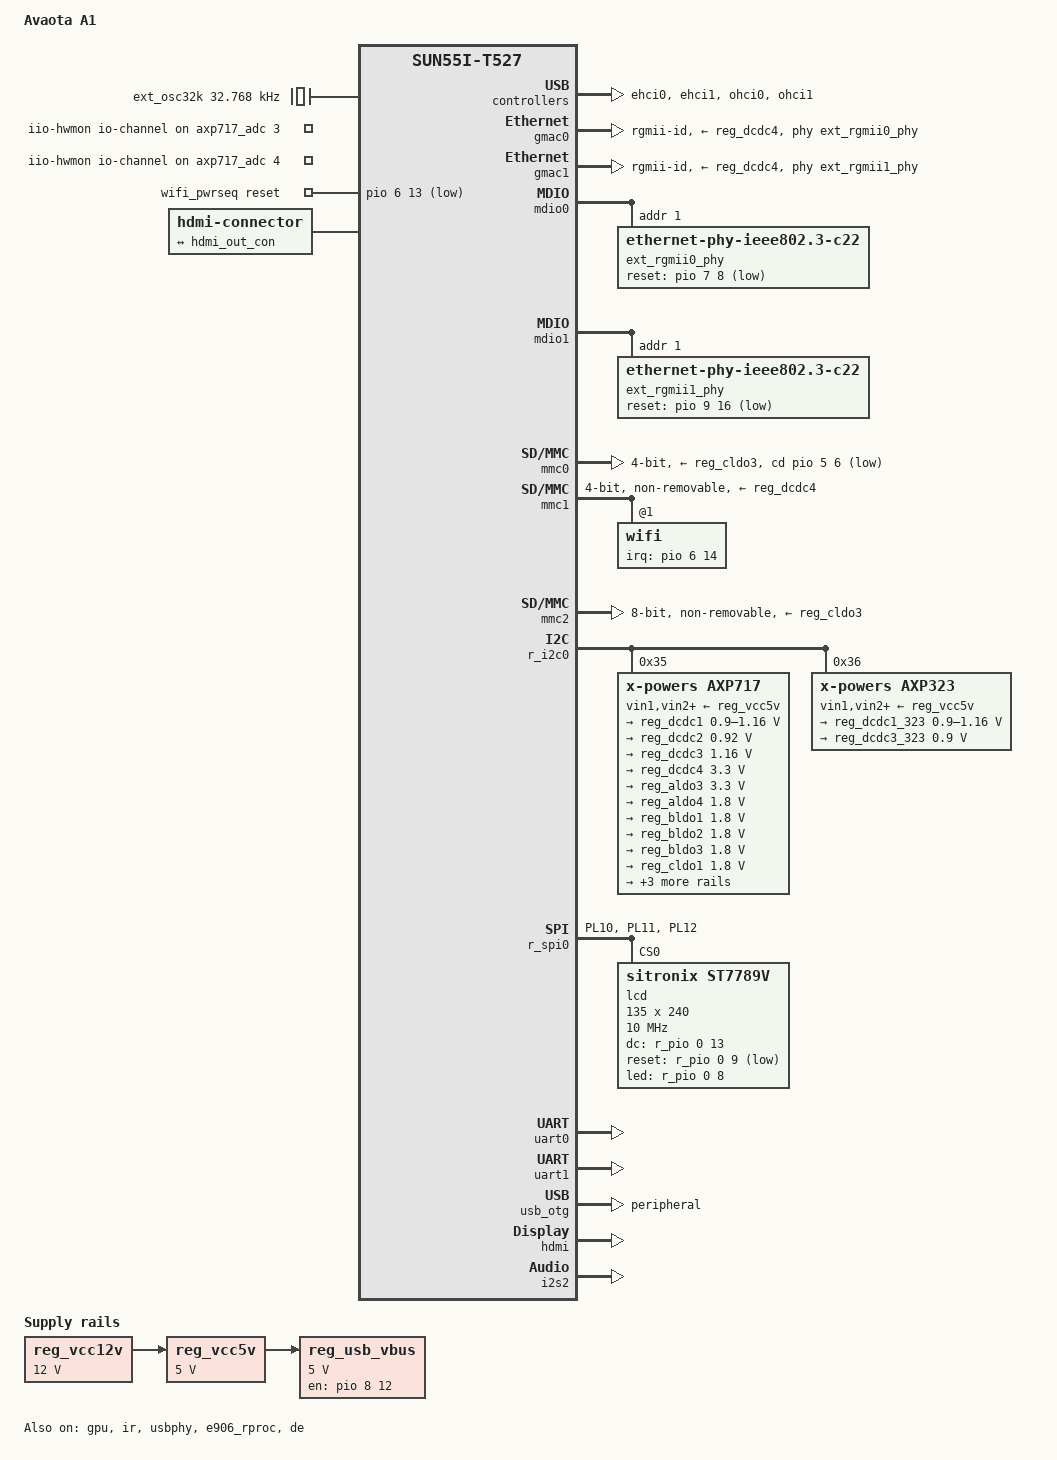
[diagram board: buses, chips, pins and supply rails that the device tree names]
// SPDX-License-Identifier: (GPL-2.0-only OR MIT)
// Copyright (C) 2024 Arm Ltd.

/dts-v1/;

#include "sun55i-a523.dtsi"

#include <dt-bindings/gpio/gpio.h>
#include <dt-bindings/interrupt-controller/irq.h>

/ {
	model = "Avaota A1";
	compatible = "yuzukihd,avaota-a1", "allwinner,sun55i-t527";

	aliases {
		ethernet0 = &gmac0;
		ethernet1 = &gmac1;
		serial0 = &uart0;
		serial1 = &uart1;
	};

	chosen {
		stdout-path = "serial0:115200n8";
	};

	reserved-memory {
		#address-cells = <2>;
		#size-cells = <2>;
		ranges;

		riscvsram0_reserved: riscvsram0@7280000 {
			reg = <0x0 0x07280000 0x0 0x40000>;
			no-map;
		};

		riscvsram1_reserved: riscvsram1@72c0000 {
			reg = <0x0 0x072c0000 0x0 0x40000>;
			no-map;
		};

		e906_dram_reserved: e906_dram@60000000 {
			reg = <0x0 0x60000000 0x0 0xa00000>;
			no-map;
		};

		rv_vdev0buffer: vdev0buffer@4ae00000 {
			compatible = "shared-dma-pool";
			reg = <0x0 0x4ae00000 0x0 0x40000>;
			no-map;
		};

		rv_vdev0vring0: vdev0vring0@4ae40000 {
			reg = <0x0 0x4ae40000 0x0 0x2000>;
			no-map;
		};

		rv_vdev0vring1: vdev0vring1@4ae42000 {
			reg = <0x0 0x4ae42000 0x0 0x2000>;
			no-map;
		};

		linux,cma {
			compatible = "shared-dma-pool";
			reusable;
			/* pin low: the DE fetch aperture only reaches DRAM below
			 * ~0x4b100000; stop at 0x48000000 to stay clear of the
			 * secmon@48000000/48100000 and vdev@4ae00000 no-map
			 * reservations (overlap hands out no-map pages -> oops) */
			reg = <0x0 0x43000000 0x0 0x5000000>;
			alloc-ranges = <0x0 0x43000000 0x0 0x5000000>;
			size = <0x0 0x5000000>;
			linux,cma-default;
		};
	};

	ext_osc32k: ext-osc32k-clk {
		#clock-cells = <0>;
		compatible = "fixed-clock";
		clock-frequency = <32768>;
		clock-output-names = "ext_osc32k";
	};

	iio-hwmon {
		compatible = "iio-hwmon";
		io-channels = <&axp717_adc 3>, /* vsys_v */
			      <&axp717_adc 4>; /* pmic_temp */
	};

	reg_vcc12v: vcc12v {
		/* DC input jack */
		compatible = "regulator-fixed";
		regulator-name = "vcc-12v";
		regulator-min-microvolt = <12000000>;
		regulator-max-microvolt = <12000000>;
		regulator-always-on;
	};

	reg_vcc5v: vcc5v {
		/* board wide 5V supply from the 12V->5V regulator */
		compatible = "regulator-fixed";
		regulator-name = "vcc-5v";
		regulator-min-microvolt = <5000000>;
		regulator-max-microvolt = <5000000>;
		vin-supply = <&reg_vcc12v>;
		regulator-always-on;
	};

	reg_usb_vbus: vbus {
		compatible = "regulator-fixed";
		regulator-name = "usb-vbus";
		regulator-min-microvolt = <5000000>;
		regulator-max-microvolt = <5000000>;
		vin-supply = <&reg_vcc5v>;
		gpio = <&pio 8 12 GPIO_ACTIVE_HIGH>;	/* PI12 */
		enable-active-high;
	};

	wifi_pwrseq: wifi-pwrseq {
		compatible = "mmc-pwrseq-simple";
		reset-gpios = <&pio 6 13 GPIO_ACTIVE_LOW>;	/* PG13 WL-REG-ON */
		post-power-on-delay-ms = <200>;
	};

	hdmi-connector {
		compatible = "hdmi-connector";
		type = "a";

		port {
			hdmi_con_in: endpoint {
				remote-endpoint = <&hdmi_out_con>;
			};
		};
	};

	/*
	 * HDMI AUDIO (BSP 5.15 recipe): the BSP outputs HDMI audio through
	 * I2S2 (i2s2@7114000, mcu_dma req 5, card "sndhdmi", i2s format,
	 * CPU master) into the DW-HDMI I2S input (internal SoC wiring, no
	 * pinctrl). In mainline this is sun4i-i2s (r329 fallback) +
	 * dw-hdmi-i2s-audio / hdmi-codec + simple-audio-card, rk3328
	 * pattern. mclk-fs=128: the DW-HDMI does not consume MCLK but
	 * sun4i-i2s derives its BCLK dividers from it.
	 */
	hdmi_sound: hdmi-sound {
		compatible = "simple-audio-card";
		simple-audio-card,name = "sndhdmi";
		simple-audio-card,format = "i2s";
		simple-audio-card,mclk-fs = <128>;
		playback-only;

		simple-audio-card,cpu {
			sound-dai = <&i2s2>;
			/*
			 * 32-bit slots always (like the BSP soundcard-mach,
			 * slot-width = <32>): dw-hdmi-i2s-audio hardcodes
			 * INPUTCLKFS=64fs, and with 16-bit slots sun4i-i2s
			 * generates 32fs frames -> DW-HDMI samples the frame
			 * wrong and the sink gets silence.
			 */
			dai-tdm-slot-num = <2>;
			dai-tdm-slot-width = <32>;
		};

		simple-audio-card,codec {
			sound-dai = <&hdmi>;
		};
	};
};

&ehci0 {
	status = "okay";
};

&ehci1 {
	status = "okay";
};

&gmac0 {
	phy-mode = "rgmii-id";
	phy-handle = <&ext_rgmii0_phy>;
	phy-supply = <&reg_dcdc4>;

	allwinner,tx-delay-ps = <100>;
	allwinner,rx-delay-ps = <300>;

	status = "okay";
};

&gmac1 {
	phy-mode = "rgmii-id";
	phy-handle = <&ext_rgmii1_phy>;
	phy-supply = <&reg_dcdc4>;

	tx-internal-delay-ps = <100>;
	rx-internal-delay-ps = <100>;

	status = "okay";
};

&gpu {
	mali-supply = <&reg_dcdc2>;
	status = "okay";
};
&ir {
	pinctrl-names = "default";
	pinctrl-0 = <&ir_rx_pin>;
	status = "okay";
};

&mdio0 {
	ext_rgmii0_phy: ethernet-phy@1 {
		compatible = "ethernet-phy-ieee802.3-c22";
		reg = <1>;
		reset-gpios = <&pio 7 8 GPIO_ACTIVE_LOW>; /* PH8 */
		reset-assert-us = <10000>;
		reset-deassert-us = <150000>;
	};
};

&mdio1 {
	ext_rgmii1_phy: ethernet-phy@1 {
		compatible = "ethernet-phy-ieee802.3-c22";
		reg = <1>;
		reset-gpios = <&pio 9 16 GPIO_ACTIVE_LOW>; /* PJ16 */
		reset-assert-us = <10000>;
		reset-deassert-us = <150000>;
	};
};

&mmc0 {
	vmmc-supply = <&reg_cldo3>;
	cd-gpios = <&pio 5 6 (GPIO_ACTIVE_LOW | GPIO_PULL_UP)>; /* PF6 */
	bus-width = <4>;
	status = "okay";
};

&mmc1 {
	bus-width = <4>;
	max-frequency = <40000000>;
	mmc-pwrseq = <&wifi_pwrseq>;
	non-removable;
	pinctrl-names = "default";
	pinctrl-0 = <&mmc1_pins>;
	vmmc-supply = <&reg_dcdc4>;
	vqmmc-supply = <&reg_bldo1>;
	status = "okay";

	wifi@1 {
		reg = <1>;
		interrupt-parent = <&pio>;
		interrupts = <6 14 IRQ_TYPE_LEVEL_LOW>;	/* PG14 WL-WAKE-AP */
		interrupt-names = "host-wake";
	};
};

&mmc2 {
	bus-width = <8>;
	cap-mmc-hw-reset;
	mmc-ddr-1_8v;
	mmc-hs200-1_8v;
	non-removable;
	vmmc-supply = <&reg_cldo3>;
	vqmmc-supply = <&reg_cldo1>;
	status = "okay";
};

&ohci0 {
	status = "okay";
};

&ohci1 {
	status = "okay";
};

&pio {
	vcc-pb-supply = <&reg_cldo3>;	/* via VCC-IO */
	vcc-pc-supply = <&reg_cldo1>;
	vcc-pd-supply = <&reg_dcdc4>;
	vcc-pe-supply = <&reg_dcdc4>;
	vcc-pf-supply = <&reg_cldo3>;	/* actually switchable */
	vcc-pg-supply = <&reg_bldo1>;
	vcc-ph-supply = <&reg_cldo3>;	/* via VCC-IO */
	vcc-pi-supply = <&reg_dcdc4>;
	vcc-pj-supply = <&reg_dcdc4>;
	vcc-pk-supply = <&reg_bldo3>;
};

&r_i2c0 {
	status = "okay";

	axp717: pmic@35 {
		compatible = "x-powers,axp717";
		reg = <0x35>;
		interrupt-controller;
		#interrupt-cells = <1>;
		interrupt-parent = <&nmi_intc>;
		interrupts = <0 IRQ_TYPE_LEVEL_LOW>;

		vin1-supply = <&reg_vcc5v>;
		vin2-supply = <&reg_vcc5v>;
		vin3-supply = <&reg_vcc5v>;
		vin4-supply = <&reg_vcc5v>;
		aldoin-supply = <&reg_vcc5v>;
		bldoin-supply = <&reg_vcc5v>;
		cldoin-supply = <&reg_vcc5v>;

		axp717_adc: adc {
			compatible = "x-powers,axp717-adc";
			#io-channel-cells = <1>;
		};

		battery-power {
			compatible = "x-powers,axp717-battery-power-supply";
			/* no battery; output used for dcdc4 instead */
			status = "disabled";
		};

		regulators {
			/* Supplies the "little" cluster (1.4 GHz cores) */
			reg_dcdc1: dcdc1 {
				regulator-always-on;
				regulator-min-microvolt = <900000>;
				regulator-max-microvolt = <1160000>;
				regulator-name = "vdd-cpul";
			};

			reg_dcdc2: dcdc2 {
				regulator-always-on;
				regulator-min-microvolt = <920000>;
				regulator-max-microvolt = <920000>;
				regulator-name = "vdd-gpu-sys";
			};

			reg_dcdc3: dcdc3 {
				regulator-always-on;
				regulator-min-microvolt = <1160000>;
				regulator-max-microvolt = <1160000>;
				regulator-name = "vdd-dram";
			};

			reg_dcdc4: dcdc4 {
				regulator-always-on;
				regulator-min-microvolt = <3300000>;
				regulator-max-microvolt = <3300000>;
				regulator-name = "vdd-io";
			};

			reg_aldo1: aldo1 {
				/* not connected */
			};

			reg_aldo2: aldo2 {
				/* not connected */
			};

			reg_aldo3: aldo3 {
				/* supplies the I2C pins for this PMIC */
				regulator-always-on;
				regulator-min-microvolt = <3300000>;
				regulator-max-microvolt = <3300000>;
				regulator-name = "vcc-pl-pm";
			};

			reg_aldo4: aldo4 {
				regulator-always-on;
				regulator-min-microvolt = <1800000>;
				regulator-max-microvolt = <1800000>;
				regulator-name = "vcc-pll-dxco-avcc";
			};

			reg_bldo1: bldo1 {
				/* VCC-PG (PG port) + VCCIO-WIFI (AIC8800 VDDIO + BT pull-ups) */
				regulator-always-on;
				regulator-min-microvolt = <1800000>;
				regulator-max-microvolt = <1800000>;
				regulator-name = "vcc-pg-wifi-lvds";
			};

			reg_bldo2: bldo2 {
				regulator-always-on;
				regulator-min-microvolt = <1800000>;
				regulator-max-microvolt = <1800000>;
				regulator-name = "vcc-dram-1v8";
			};

			reg_bldo3: bldo3 {
				regulator-min-microvolt = <1800000>;
				regulator-max-microvolt = <1800000>;
				regulator-name = "vcc-cvp-pk-vid1v8";
			};

			reg_bldo4: bldo4 {
				/* not connected */
			};

			reg_cldo1: cldo1 {
				regulator-min-microvolt = <1800000>;
				regulator-max-microvolt = <1800000>;
				regulator-name = "vcc-pc";
			};

			reg_cldo2: cldo2 {
				regulator-min-microvolt = <1800000>;
				regulator-max-microvolt = <1800000>;
				regulator-name = "vcc-efuse";
			};

			reg_cldo3: cldo3 {
				regulator-min-microvolt = <3300000>;
				regulator-max-microvolt = <3300000>;
				regulator-name = "vcc-io-mmc-spi-ana";
			};

			reg_cldo4: cldo4 {
				/* not connected */
			};

			reg_cpusldo: cpusldo {
				/* supplies the management core */
				regulator-always-on;
				regulator-min-microvolt = <900000>;
				regulator-max-microvolt = <900000>;
				regulator-name = "vdd-cpus";
			};
		};

		usb-power {
			compatible = "x-powers,axp717-usb-power-supply";
			/* 12V-5V buck converter can supply up to 5A */
			input-current-limit-microamp = <3250000>;
		};
	};

	axp323: pmic@36 {
		compatible = "x-powers,axp323";
		reg = <0x36>;
		#interrupt-cells = <1>;
		interrupt-controller;
		interrupt-parent = <&nmi_intc>;
		interrupts = <0 IRQ_TYPE_LEVEL_LOW>;
		status = "okay";

		vin1-supply = <&reg_vcc5v>;
		vin2-supply = <&reg_vcc5v>;
		vin3-supply = <&reg_vcc5v>;

		regulators {
			aldo1 {
				/* not connected */
			};

			dldo1 {
				/* not connected */
			};

			/* Supplies the "big" cluster (1.8 GHz cores) */
			reg_dcdc1_323: dcdc1 {
				regulator-always-on;
				regulator-min-microvolt = <900000>;
				regulator-max-microvolt = <1160000>;
				regulator-name = "vdd-cpub";
				x-powers,polyphased = <&reg_dcdc2_323>;
			};

			reg_dcdc2_323: dcdc2 {
				/* dual-phased with DCDC1 */
			};

			/* Some RISC-V management core related voltage */
			reg_dcdc3_323: dcdc3 {
				regulator-always-on;
				regulator-min-microvolt = <900000>;
				regulator-max-microvolt = <900000>;
				regulator-name = "vdd-dnr";
			};
		};
	};
};

&r_pio {
/*
 * Specifying the supply would create a circular dependency.
 *
 *	vcc-pl-supply = <&reg_aldo3>;
 */
	vcc-pm-supply = <&reg_aldo3>;

	r_spi0_lcd_pins: r-spi0-lcd-pins {
		pins = "PL10", "PL11", "PL12";
		function = "s_spi0";
		allwinner,pinmux = <6>;
	};
};

&rtc {
	clocks = <&r_ccu CLK_BUS_R_RTC>, <&osc24M>,
		 <&r_ccu CLK_R_AHB>, <&ext_osc32k>;
	clock-names = "bus", "hosc", "ahb", "ext-osc32k";
	assigned-clocks = <&rtc CLK_OSC32K>;
	assigned-clock-rates = <32768>;
};

&r_spi0 {
	/*
	 * The mcu_dma controller cannot serve the R-domain SPI0 (the
	 * dmaengine_prep_slave_sg call fails with -EINVAL), so drop the
	 * RX channel to keep the driver in PIO mode.
	 */
	dmas = <&mcu_dma 13>;
	dma-names = "tx";
	pinctrl-names = "default";
	pinctrl-0 = <&r_spi0_lcd_pins>;
	status = "okay";

	lcd: st7789v@0 {
		compatible = "sitronix,st7789v";
		reg = <0>;
		spi-max-frequency = <10000000>;
		dc-gpios = <&r_pio 0 13 GPIO_ACTIVE_HIGH>;
		reset-gpios = <&r_pio 0 9 GPIO_ACTIVE_LOW>;
		led-gpios = <&r_pio 0 8 GPIO_ACTIVE_HIGH>;
		width = <135>;
		height = <240>;
		buswidth = <8>;
		rotate = <90>;
		bgr;
	};
};

&uart0 {
	pinctrl-names = "default";
	pinctrl-0 = <&uart0_pb_pins>;
	status = "okay";
};

&uart1 {
	pinctrl-names = "default";
	pinctrl-0 = <&uart1_pins>, <&uart1_rts_cts_pins>;
	uart-has-rtscts;
	status = "okay";

	bluetooth {
		/* aic8800-bt */
		shutdown-gpios = <&pio 6 12 GPIO_ACTIVE_LOW>;	/* PG12 BT-RESETN */
		host-wakeup-gpios = <&pio 6 10 GPIO_ACTIVE_HIGH>;	/* PG10 BT-HOST-WAKE */
		device-wakeup-gpios = <&pio 6 11 GPIO_ACTIVE_HIGH>;	/* PG11 AP-WAKE-BT */
	};
};

&usb_otg {
	 /*
	  * The CC pins of the USB-C port have two pull-down resistors
	  * connected to GND, which fixes this port to a peripheral role.
	  * There is a regulator, controlled by a GPIO, to provide VBUS power
	  * to the port, and a VBUSDET GPIO, to detect externally provided
	  * power, but without the CC pins there is no real way to do a
	  * runtime role detection.
	  */
	dr_mode = "peripheral";
	status = "okay";
};

&usbphy {
	usb0_vbus-supply = <&reg_usb_vbus>;
	usb0_vbus_det-gpios = <&pio 8 13 GPIO_ACTIVE_HIGH>; /* PI13 */
	status = "okay";
};

&e906_rproc {
	memory-region = <&rv_vdev0buffer>, <&rv_vdev0vring0>,
			<&rv_vdev0vring1>, <&e906_dram_reserved>;
	status = "okay";
};

&de {
	status = "okay";
};

&hdmi {
	hvcc-supply = <&reg_bldo3>;
	status = "okay";
};

&hdmi_out {
	hdmi_out_con: endpoint {
		remote-endpoint = <&hdmi_con_in>;
	};
};

&i2s2 {
	status = "okay";
};
